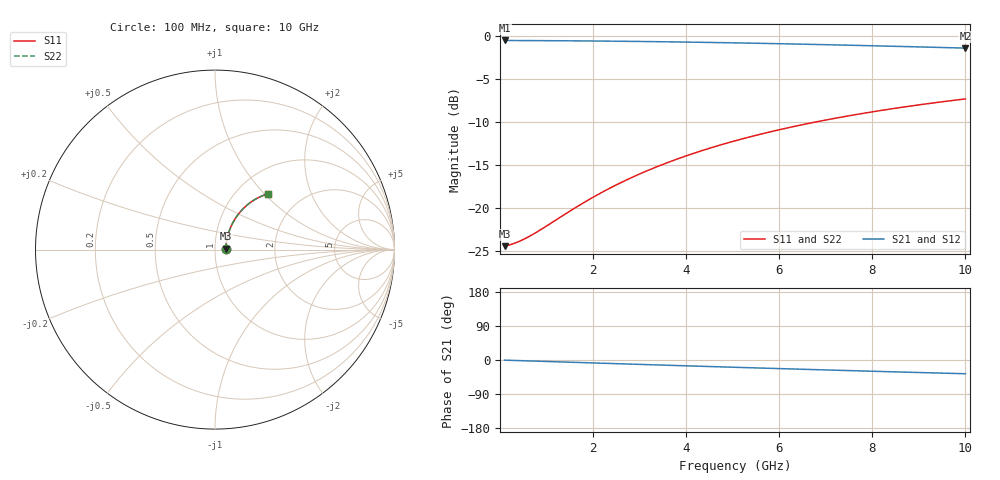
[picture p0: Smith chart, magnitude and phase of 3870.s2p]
# Hz S RI R 50.00
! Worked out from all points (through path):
!   100 points, 100 MHz to 10 GHz, reference 50 ohm
!   highest |S21| = -0.53 dB at 100 MHz (marker M1); lowest = -1.4 dB at 10 GHz (marker M2)
!   group delay of S21, straight-line fit = 10.1 ps
!   lowest |S11| = -24.5 dB at 100 MHz (marker M3), VSWR 1.13, Z = 56.4 + j0.509 ohm
!   |S11| at or under -10 dB: start of sweep to 6.797 GHz
!   |S22| runs from -24.5 to -7.3 dB; largest |S21 - S12| = 0
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1e8  0.0597 0.0045  0.9403 -0.00639  0.9403 -0.00639  0.0597 0.0045
3e8  0.0606 0.0135  0.9394 -0.0191  0.9394 -0.0191  0.0606 0.0135
4e8  0.0611 0.018  0.9389 -0.0255  0.9389 -0.0255  0.0611 0.018
6e8  0.062 0.0269  0.9379 -0.0382  0.9379 -0.0382  0.062 0.0269
9e8  0.0638 0.0402  0.9361 -0.0572  0.9361 -0.0572  0.0638 0.0402
1.5e9  0.0687 0.0666  0.9308 -0.0948  0.9308 -0.0948  0.0687 0.0666
1.8e9  0.0719 0.0795  0.9275 -0.1135  0.9275 -0.1135  0.0719 0.0795
2.2e9  0.077 0.0965  0.9221 -0.138  0.9221 -0.138  0.077 0.0965
2.6e9  0.0828 0.1132  0.9159 -0.1622  0.9159 -0.1622  0.0828 0.1132
3e9  0.0896 0.1294  0.9088 -0.186  0.9088 -0.186  0.0896 0.1294
3.4e9  0.0971 0.1452  0.9008 -0.2093  0.9008 -0.2093  0.0971 0.1452
3.8e9  0.1054 0.1604  0.8919 -0.2322  0.8919 -0.2322  0.1054 0.1604
4.2e9  0.1144 0.1751  0.8823 -0.2545  0.8823 -0.2545  0.1144 0.1751
4.6e9  0.124 0.1893  0.872 -0.2762  0.872 -0.2762  0.124 0.1893
5.1e9  0.137 0.206  0.8581 -0.3024  0.8581 -0.3024  0.137 0.206
5.5e9  0.1481 0.2187  0.8463 -0.3227  0.8463 -0.3227  0.1481 0.2187
5.9e9  0.1596 0.2306  0.8339 -0.3422  0.8339 -0.3422  0.1596 0.2306
6.7e9  0.1841 0.2524  0.8075 -0.3793  0.8075 -0.3793  0.1841 0.2524
7.5e9  0.2101 0.2713  0.7794 -0.4135  0.7794 -0.4135  0.2101 0.2713
8.4e9  0.2406 0.289  0.7461 -0.4485  0.7461 -0.4485  0.2406 0.289
9.2e9  0.2685 0.3015  0.7156 -0.4766  0.7156 -0.4766  0.2685 0.3015
1e10  0.2966 0.3113  0.6844 -0.5019  0.6844 -0.5019  0.2966 0.3113
